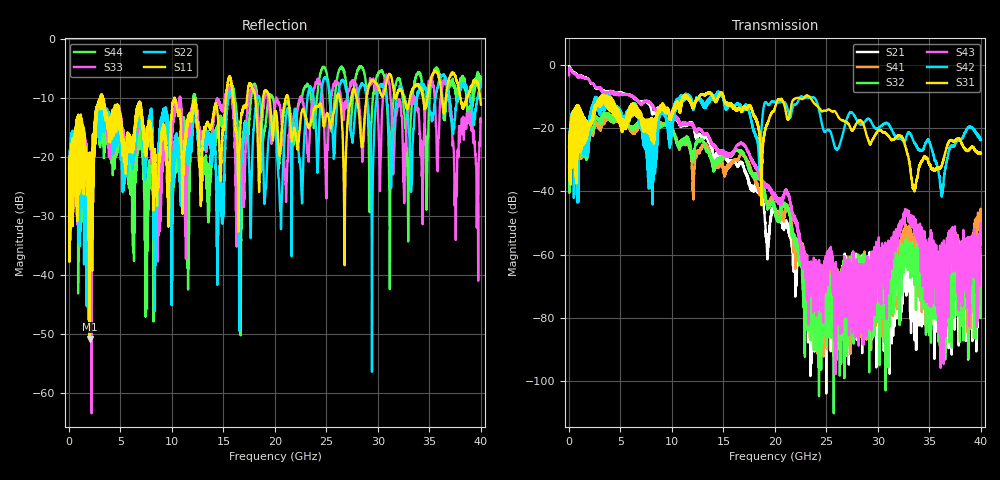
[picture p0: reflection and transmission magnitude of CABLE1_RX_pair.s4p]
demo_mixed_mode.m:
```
%% demo_mixed_mode.m  -- Mixed-mode S-parameter demo for octave-rf
%%
%% Demonstrates mixed-mode (differential/common-mode) analysis of a
%% 4-port differential cable measurement (CABLE1_RX_pair.s4p).
%%
%% Mixed-mode parameters decompose single-ended S-parameters into:
%%   Sdd -- differential-to-differential (signal integrity metric)
%%   Scc -- common-mode-to-common-mode (EMI/noise coupling metric)
%%   Sdc -- differential-to-common (mode conversion)
%%   Scd -- common-to-differential (mode conversion)
%%
%% Port convention used: adjacent pairs
%%   Pair 1 = ports 1,2  (e.g., positive and negative of differential pair)
%%   Pair 2 = ports 3,4
%%
%% Run from the octave-rf/examples/ directory:
%%
%%   cd octave-rf/examples
%%   octave-cli --no-gui -q demo_mixed_mode.m
%%
%% Requires: octave-rf package (inst/ directory on path) + fromtouchn.m
%%
%% References:
%%   Pupalaikis, P.J., "S-Parameters for Signal Integrity", CUP 2020. Ch.8.
%%   Hall, S.H. & Heck, H.L., "Advanced Signal Integrity", Wiley 2009. Ch.8.

%% --- Setup paths -----------------------------------------------------------
this_dir = fileparts (mfilename ('fullpath'));
addpath (fullfile (this_dir, '..', 'inst'));   %% octave-rf functions
addpath (this_dir);                            %% fromtouchn.m

%% Suppress Octave compatibility warnings from legacy code in fromtouchn.m
warning ('off', 'all');

%% --- Load 4-port S-parameters ---------------------------------------------
printf ('Loading CABLE1_RX_pair.s4p (6401 frequency points)...\n');
[freq, S4, npts] = fromtouchn (fullfile (this_dir, 'CABLE1_RX_pair.s4p'));
printf ('  Loaded %d frequency points, %d-port\n', npts, size(S4,1));
printf ('  Frequency range: %.3f MHz - %.3f GHz\n\n', ...
        freq(1)/1e6, freq(end)/1e9);

%% --- Port-order convention ------------------------------------------------
%% portorder = [1,2,3,4]: adjacent pairs
%%   Differential pair 1: ports 1(+) and 2(-)
%%   Differential pair 2: ports 3(+) and 4(-)
portorder = [1 2 3 4];

%% --- Convert to mixed-mode S-parameters -----------------------------------
printf ('--- Mixed-mode conversion (s2smm) ---\n');
Smm = s2smm (S4, portorder);
printf ('  Full 4x4 mixed-mode matrix computed.\n');
printf ('  Layout:  [Sdd  Sdc]\n');
printf ('           [Scd  Scc]\n\n');

%% Extract sub-blocks
Sdd = Smm(1:2, 1:2, :);   %% differential-mode S-parameters
Scc = Smm(3:4, 3:4, :);   %% common-mode S-parameters
Sdc = Smm(3:4, 1:2, :);   %% differential -> common (mode conversion)
Scd = Smm(1:2, 3:4, :);   %% common -> differential (mode conversion)

%% --- Also use dedicated sub-block functions --------------------------------
Sdd2 = s2sdd (S4, portorder);
Scc2 = s2scc (S4, portorder);

err_dd = max (abs (Sdd2(:) - Sdd(:)));
err_cc = max (abs (Scc2(:) - Scc(:)));
printf ('--- s2sdd / s2scc consistency with s2smm ---\n');
printf ('  Sdd block:  max|diff| = %.2e  (should be ~0)\n', err_dd);
printf ('  Scc block:  max|diff| = %.2e  (should be ~0)\n\n', err_cc);

%% --- Key signal integrity metrics -----------------------------------------
%% Find index near 1 GHz
[~, idx1G] = min (abs (freq - 1e9));
[~, idx5G] = min (abs (freq - 5e9));

printf ('--- Key metrics ---\n');
printf ('  Insertion loss (Sdd21) at 1 GHz:  %.2f dB\n', ...
        20*log10(abs(Sdd(2,1,idx1G))));
printf ('  Insertion loss (Sdd21) at 5 GHz:  %.2f dB\n', ...
        20*log10(abs(Sdd(2,1,idx5G))));
printf ('  Return loss    (Sdd11) at 1 GHz:  %.2f dB\n', ...
        20*log10(abs(Sdd(1,1,idx1G))));
printf ('  Mode conversion (Scd21) at 1 GHz: %.2f dB\n', ...
        20*log10(abs(Scd(2,1,idx1G))));
printf ('  Common-mode IL (Scc21) at 1 GHz:  %.2f dB\n\n', ...
        20*log10(abs(Scc(2,1,idx1G))));

%% --- Round-trip: smm2s recovers original S4 --------------------------------
printf ('--- Round-trip smm2s (mixed-mode -> single-ended) ---\n');
S4_rt = smm2s (Smm(1:2,1:2,:), Smm(1:2,3:4,:), ...
               Smm(3:4,1:2,:), Smm(3:4,3:4,:), portorder);
err_rt = max (abs (S4_rt(:) - S4(:)));
printf ('  smm2s round-trip:  max|diff| = %.2e  (should be ~machine epsilon)\n\n', err_rt);

%% --- Z and Y parameters for 4-port network --------------------------------
printf ('--- 4-port Z / Y parameters ---\n');
Z4 = s2z (S4);
Y4 = s2y (S4);
S4_from_Z = z2s (Z4);
S4_from_Y = y2s (Y4);
err_z = max (abs (S4_from_Z(:) - S4(:)));
err_y = max (abs (S4_from_Y(:) - S4(:)));
printf ('  s2z/z2s round-trip:  max|diff| = %.2e\n', err_z);
printf ('  s2y/y2s round-trip:  max|diff| = %.2e\n\n', err_y);

printf ('Demo complete. Mixed-mode analysis of 4-port differential cable.\n');
printf ('References: Pupalaikis 2020, Ch.8; Hall & Heck 2009, Ch.8.\n');
```
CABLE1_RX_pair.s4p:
!Keysight Technologies,N5245B,MY57181400,A.12.70.07
!Date: Monday, January 1, 2020 00:00:00
!Correction: S11(Full 16 Port(1,2,3,4,5,6,7,8,9,10,11,12,13,14,15,16))
!S12(Full 16 Port(1,2,3,4,5,6,7,8,9,10,11,12,13,14,15,16))
!S13(Full 16 Port(1,2,3,4,5,6,7,8,9,10,11,12,13,14,15,16))
!S14(Full 16 Port(1,2,3,4,5,6,7,8,9,10,11,12,13,14,15,16))
!S21(Full 16 Port(1,2,3,4,5,6,7,8,9,10,11,12,13,14,15,16))
!S22(Full 16 Port(1,2,3,4,5,6,7,8,9,10,11,12,13,14,15,16))
!S23(Full 16 Port(1,2,3,4,5,6,7,8,9,10,11,12,13,14,15,16))
!S24(Full 16 Port(1,2,3,4,5,6,7,8,9,10,11,12,13,14,15,16))
!S31(Full 16 Port(1,2,3,4,5,6,7,8,9,10,11,12,13,14,15,16))
!S32(Full 16 Port(1,2,3,4,5,6,7,8,9,10,11,12,13,14,15,16))
!S33(Full 16 Port(1,2,3,4,5,6,7,8,9,10,11,12,13,14,15,16))
!S34(Full 16 Port(1,2,3,4,5,6,7,8,9,10,11,12,13,14,15,16))
!S41(Full 16 Port(1,2,3,4,5,6,7,8,9,10,11,12,13,14,15,16))
!S42(Full 16 Port(1,2,3,4,5,6,7,8,9,10,11,12,13,14,15,16))
!S43(Full 16 Port(1,2,3,4,5,6,7,8,9,10,11,12,13,14,15,16))
!S44(Full 16 Port(1,2,3,4,5,6,7,8,9,10,11,12,13,14,15,16))
!S4P File: Measurements: <S11,S12,S13,S14>,
!<S21,S22,S23,S24>,
!<S31,S32,S33,S34>,
!<S41,S42,S43,S44>:
# Hz S  dB  R 50
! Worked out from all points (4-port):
!   6401 points, 10 MHz to 40 GHz, reference 50 ohm
!   strongest paths, dB at 10 MHz, 10.01 GHz, 20 GHz, 30 GHz, 40 GHz:
!     S31: -25.8, -16.3, -13.5, -20.9, -28.0
!     S42: -25.9, -20.4, -11.8, -20.2, -23.8
!     S43: -3.4, -15.3, -41.7, -61.8, -52.3
!     S32: -32.4, -20.0, -45.8, -67.7, -61.7
!     S41: -32.5, -19.9, -45.5, -63.1, -47.3
!     S21: -0.5, -15.4, -47.0, -61.9, -63.4
!   lowest |S11| = -50.8 dB at 1.991 GHz (marker M1), VSWR 1.01, Z = 50.2 + j0.247 ohm
!   |S11| at or under -10 dB: 3.322 GHz to 10.24 GHz (6.917 GHz wide, 102 % of centre); 10.26 GHz to 15.23 GHz (4.972 GHz wide, 39 % of centre); 21.3 GHz to 26.01 GHz (4.718 GHz wide, 19.9 % of centre)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
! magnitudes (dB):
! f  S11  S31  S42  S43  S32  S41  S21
! 10 MHz  -22.1  -25.8  -25.9  -3.4  -32.4  -32.5  -0.5
! 1.991 GHz  -50.8  -18.1  -16.4  -5.1  -22.8  -23.2  -5.0
! 40 GHz  -11.1  -28.0  -23.8  -52.3  -61.7  -47.3  -63.4
